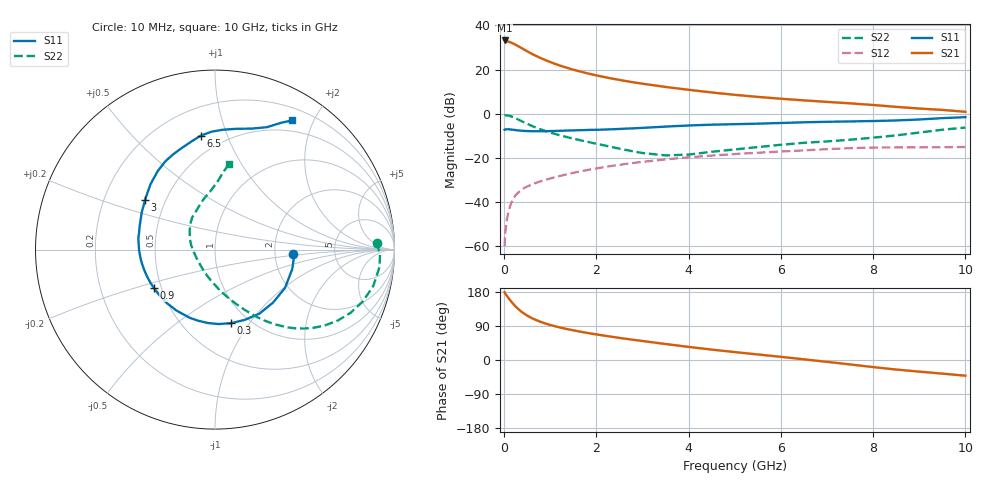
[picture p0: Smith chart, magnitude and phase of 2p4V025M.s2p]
! (c) 2009  Infineon Technologies AG, Munich
! Infineon Technologies  Discrete & RF Semiconductors
! BFP420
! VCE =  4.0 V,  IC =  25 mA
! Common Emitter S-Parameters:  Nov 2009
# GHz  S  MA  R  50
!  f  S11  S21  S12  S22
! GHz  MAG  ANG  MAG  ANG  MAG  ANG  MAG  ANG
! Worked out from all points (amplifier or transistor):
!   46 points, 10 MHz to 10 GHz, reference 50 ohm
!   highest |S21| = 33.2 dB at 10 MHz (marker M1)
!   |S21| within 3 dB of that: start of sweep to 338.8 MHz
!   unconditionally stable (mu >= 1): start of sweep to 21.28 MHz; 1.696 GHz to end of sweep
!   at 300 MHz: K = 0.40, MSG = 33.2 dB, |S12| = -35.8 dB
!   at 1.7 GHz: K = 1.00, MAG = 22.2 dB, |S12| = -25.9 dB
!   at 10 GHz: K = 1.07, MAG = 6.4 dB, |S12| = -15.1 dB
!   lowest NFmin = 1.38 dB at 900 MHz
!   S11 on the Smith chart (normalised r, x): 10 MHz: 2.52, -0.15; 300 MHz: 0.83, -0.82; 900 MHz: 0.46, -0.23; 3 GHz: 0.38, +0.28; 6.5 GHz: 0.38, +0.81; 10 GHz: 0.35, +1.70
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0.01  0.4342 -3.1  45.73 178.7  0.001 61.5  0.9027 2.4
0.02  0.4422 -5.5  44.45 175.9  0.0018 53.4  0.9197 -1.8
0.05  0.4438 -14.3  43.86 170.8  0.0036 68.3  0.922 -6.0
0.1  0.4447 -28.7  42.76 162.6  0.0065 71.6  0.9049 -13.0
0.15  0.4379 -42.5  40.93 154.8  0.0093 70.3  0.8731 -19.3
0.2  0.4341 -55.3  38.8 147.7  0.012 67.9  0.8334 -25.0
0.25  0.4252 -67.0  36.37 141.0  0.0143 65.3  0.7903 -30.0
0.3  0.4198 -77.5  34.13 135.2  0.0162 63.3  0.7456 -34.4
0.45  0.4073 -103.4  27.79 121.0  0.0212 59.1  0.6245 -44.6
0.6  0.4018 -122.3  22.83 110.5  0.025 57.0  0.5301 -51.6
0.7  0.4012 -132.2  20.24 105.0  0.0274 56.5  0.4806 -55.2
0.9  0.4022 -147.6  16.31 96.1  0.0319 56.0  0.4051 -61.0
1.2  0.4106 -164.0  12.44 86.1  0.0388 55.7  0.3266 -68.6
1.7  0.4254 177.0  8.769 73.7  0.0506 54.3  0.2443 -80.1
2.2  0.4395 162.9  6.686 63.7  0.0627 51.5  0.1887 -92.4
3  0.4786 144.5  4.791 50.1  0.0813 45.4  0.1289 -121.8
3.5  0.5113 134.7  4.047 42.2  0.0923 41.0  0.1138 -148.0
5.5  0.5965 107.8  2.407 14.6  0.1308 22.9  0.1755 143.5
6.5  0.6401 97.0  2.007 1.8  0.1482 13.8  0.2197 125.5
7  0.6572 91.7  1.855 -4.9  0.1574 9.0  0.236 117.2
8.5  0.7045 73.1  1.432 -25.2  0.1724 -7.9  0.3238 95.0
10  0.8366 59.3  1.107 -41.4  0.1765 -19.2  0.4862 80.5
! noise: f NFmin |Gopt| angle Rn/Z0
0.9  1.38  0.22  -154  0.13
1.8  1.65  0.29  -143  0.13
2.4  1.81  0.26  -138  0.17
3  1.83  0.34  -129  0.18
4  1.97  0.45  -112  0.27
5  2.4  0.49  -95  0.44
6  2.85  0.54  -84  0.65
